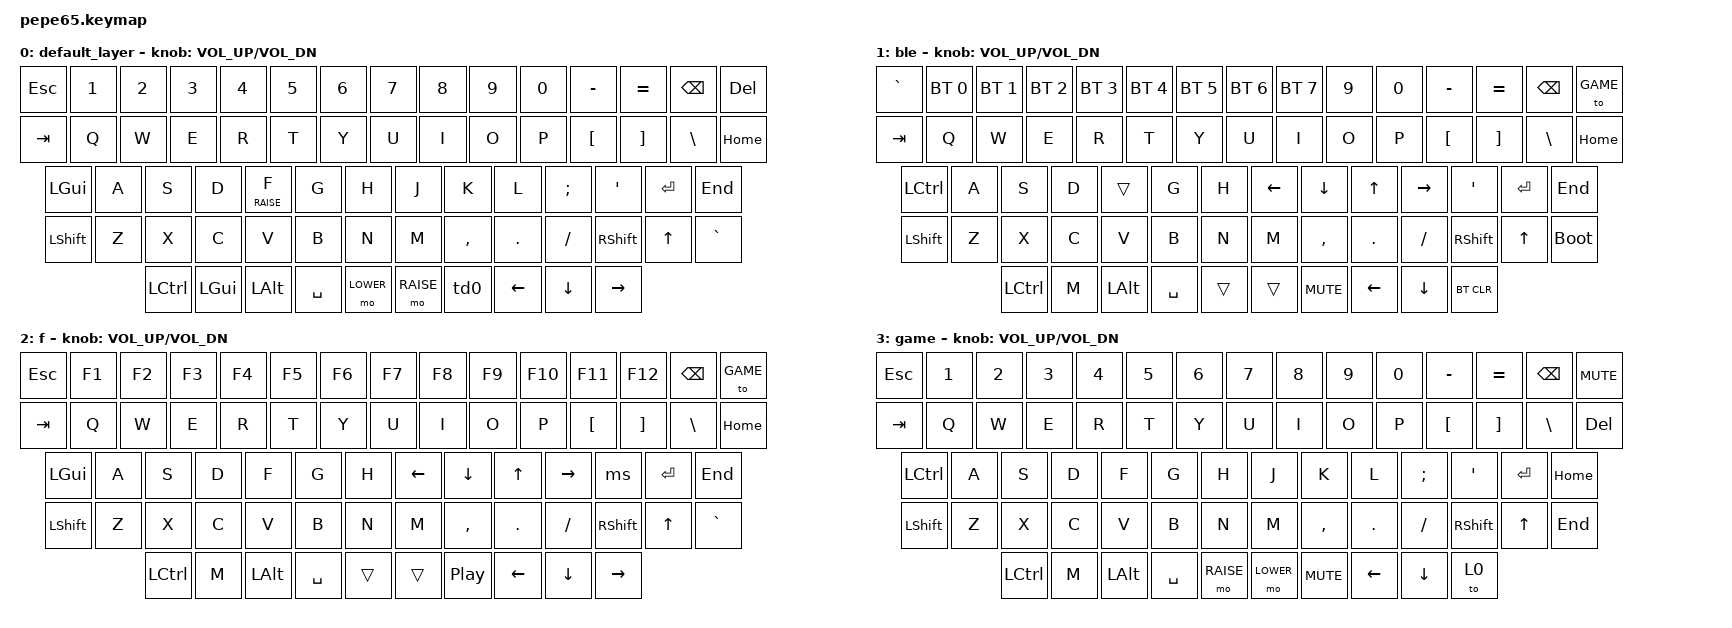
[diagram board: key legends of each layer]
#include <behaviors.dtsi>
#include <dt-bindings/zmk/keys.h>
#include <dt-bindings/zmk/bt.h>
#include <dt-bindings/zmk/outputs.h>
#include <dt-bindings/zmk/rgb.h>
#include <dt-bindings/zmk/ext_power.h>

#define DEFAULT 0
#define LOWER   1
#define RAISE   2
#define GAME 3

/{
    macros {
        ms: ms {
            label = "mac screenshot";
            compatible = "zmk,behavior-macro";
            #binding-cells = <0>;
            bindings
                = <&macro_press &kp LSHFT>
		, <&macro_press &kp LGUI>
		, <&macro_press &kp LCTRL>
                , <&macro_tap &kp N4>
                , <&macro_release &kp LSHFT &kp LGUI &kp LCTRL>
                ;
        };
    };
        behaviors {
        td0: tap_dance_0 {
            compatible = "zmk,behavior-tap-dance";
            label = "TAP_DANCE_0";
            #binding-cells = <0>;
            tapping-term-ms = <400>;
            bindings = <&kp C_PP>, <&kp C_NEXT>, <&kp C_PREV>;
        };
    };
    keymap {
        compatible = "zmk,keymap";

        default_layer {
 //   |  ESC  |  1  |  2  |  3  |  4  |  5  |  6  |  7  |  8  |  9  |  0  |  -  |  +  |  backspace  |
 //   |  tab  |  q  |  w  |  e  |  r  |  t  |  y  |  u  |  i  |  o  |  p  |  [  |  ]  |  \  |
 //   |  caps  |  a  |  s  |  d  |  f  |  g  |  h  |  j  |  k  |  l  |  ;  |  '  |  enter  |  encoder_button  |
 //   |  shift  |  z  |  x  |  c  |  v  |  b  |  n  |  m  |  ,  |  .  |  /  |  shift  |  up  |  extra  |
 //   |  ctrl  |  win  |  alt    |  space    |  alt  |  win  |  menu  |  left  |  down  |  right  |


            bindings = <
&kp ESC  &kp N1  &kp N2  &kp N3  &kp N4  &kp N5  &kp N6  &kp N7  &kp N8  &kp N9  &kp N0  &kp MINUS  &kp EQUAL  &kp BSPC &kp DEL
&kp TAB  &kp Q  &kp W  &kp E  &kp R  &kp T  &kp Y  &kp U  &kp I  &kp O  &kp P  &kp LBKT  &kp RBKT &kp BSLH &kp HOME
&kp LGUI  &kp A  &kp S  &kp D  &lt RAISE F  &kp G  &kp H  &kp J  &kp K  &kp L  &kp SEMI  &kp SQT  &kp ENTER  &kp END
&kp LSHFT  &kp Z  &kp X  &kp C  &kp V  &kp B  &kp N  &kp M  &kp COMMA  &kp DOT  &kp FSLH  &kp RSHFT  &kp UP  &kp GRAVE
&kp LCTRL  &kp LGUI  &kp LALT      &kp SPACE      &mo LOWER  &mo RAISE  &td0  &kp LEFT  &kp DOWN  &kp RIGHT
            >;

            sensor-bindings = <&inc_dec_kp C_VOL_UP C_VOL_DN>;
        };

        ble {
 //   |  ESC  |  1  |  2  |  3  |  4  |  5  |  6  |  7  |  8  |  9  |  0  |  -  |  +  |  backspace  |
 //   |  tab  |  q  |  w  |  e  |  r  |  t  |  y  |  u  |  i  |  o  |  p  |  [  |  ]  |  \  |
 //   |  caps  |  a  |  s  |  d  |  f  |  g  |  h  |  j  |  k  |  l  |  ;  |  '  |  enter  |  encoder_button  |
 //   |  shift  |  z  |  x  |  c  |  v  |  b  |  n  |  m  |  ,  |  .  |  /  |  shift  |  up  |  extra  |
 //   |  ctrl  |  win  |  alt    |  space    |  alt  |  win  |  menu  |  left  |  down  |  right  |


            bindings = <
&kp GRAVE  &bt BT_SEL 0 &bt BT_SEL 1  &bt BT_SEL 2  &bt BT_SEL 3  &bt BT_SEL 4  &bt BT_SEL 5  &bt BT_SEL 6  &bt BT_SEL 7  &kp N9  &kp N0  &kp MINUS  &kp EQUAL  &kp BSPC &to GAME
&kp TAB  &kp Q  &kp W  &kp E  &kp R  &kp T  &kp Y  &kp U  &kp I  &kp O  &kp P  &kp LBKT  &kp RBKT &kp BSLH &kp HOME
&kp LCTL  &kp A  &kp S  &kp D  &trans  &kp G  &kp H  &kp LEFT  &kp DOWN  &kp UP  &kp RIGHT  &kp SQT  &kp ENTER  &kp END
&kp LSHFT  &kp Z  &kp X  &kp C  &kp V  &kp B  &kp N  &kp M  &kp COMMA  &kp DOT  &kp FSLH  &kp RSHFT  &kp UP  &bootloader
&kp LCTRL  &kp M  &kp LALT      &kp SPACE      &trans  &trans  &kp C_MUTE  &kp LEFT  &kp DOWN  &bt BT_CLR
            >;

            sensor-bindings = <&inc_dec_kp C_VOL_UP C_VOL_DN>;
        };

        f {
 //   |  ESC  |  1  |  2  |  3  |  4  |  5  |  6  |  7  |  8  |  9  |  0  |  -  |  +  |  backspace  |
 //   |  tab  |  q  |  w  |  e  |  r  |  t  |  y  |  u  |  i  |  o  |  p  |  [  |  ]  |  \  |
 //   |  caps  |  a  |  s  |  d  |  f  |  g  |  h  |  j  |  k  |  l  |  ;  |  '  |  enter  |  encoder_button  |
 //   |  shift  |  z  |  x  |  c  |  v  |  b  |  n  |  m  |  ,  |  .  |  /  |  shift  |  up  |  extra  |
 //   |  ctrl  |  win  |  alt    |  space    |  alt  |  win  |  menu  |  left  |  down  |  right  |


            bindings = <
&kp ESC  &kp F1  &kp F2  &kp F3  &kp F4  &kp F5  &kp F6  &kp F7  &kp F8  &kp F9  &kp F10  &kp F11  &kp F12  &kp BSPC  &to GAME
&kp TAB  &kp Q  &kp W  &kp E  &kp R  &kp T  &kp Y  &kp U  &kp I  &kp O  &kp P  &kp LBKT  &kp RBKT &kp BSLH &kp HOME
&kp LGUI  &kp A  &kp S  &kp D  &kp F  &kp G  &kp H   &kp LEFT  &kp DOWN  &kp UP  &kp RIGHT  &ms  &kp ENTER  &kp END
&kp LSHFT  &kp Z  &kp X  &kp C  &kp V  &kp B  &kp N  &kp M  &kp COMMA  &kp DOT  &kp FSLH  &kp RSHFT  &kp UP  &kp GRAVE
&kp LCTRL  &kp M  &kp LALT      &kp SPACE      &trans   &trans  &kp C_PP  &kp LEFT  &kp DOWN  &kp RIGHT
            >;

            sensor-bindings = <&inc_dec_kp C_VOL_UP C_VOL_DN>;
        };
	
	game {
 //   |  ESC  |  1  |  2  |  3  |  4  |  5  |  6  |  7  |  8  |  9  |  0  |  -  |  +  |  backspace  |
 //   |  tab  |  q  |  w  |  e  |  r  |  t  |  y  |  u  |  i  |  o  |  p  |  [  |  ]  |  \  |
 //   |  caps  |  a  |  s  |  d  |  f  |  g  |  h  |  j  |  k  |  l  |  ;  |  '  |  enter  |  encoder_button  |
 //   |  shift  |  z  |  x  |  c  |  v  |  b  |  n  |  m  |  ,  |  .  |  /  |  shift  |  up  |  extra  |
 //   |  ctrl  |  win  |  alt    |  space    |  alt  |  win  |  menu  |  left  |  down  |  right  |


            bindings = <
&kp ESC  &kp N1  &kp N2  &kp N3  &kp N4  &kp N5  &kp N6  &kp N7  &kp N8  &kp N9  &kp N0  &kp MINUS  &kp EQUAL  &kp BSPC &kp C_MUTE
&kp TAB  &kp Q  &kp W  &kp E  &kp R  &kp T  &kp Y  &kp U  &kp I  &kp O  &kp P  &kp LBKT  &kp RBKT &kp BSLH &kp DEL
&kp LCTL  &kp A  &kp S  &kp D  &kp F  &kp G  &kp H  &kp J  &kp K  &kp L  &kp SEMI  &kp SQT  &kp ENTER  &kp HOME
&kp LSHFT  &kp Z  &kp X  &kp C  &kp V  &kp B  &kp N  &kp M  &kp COMMA  &kp DOT  &kp FSLH  &kp RSHFT  &kp UP  &kp END
&kp LCTRL  &kp M  &kp LALT      &kp SPACE      &mo RAISE  &mo LOWER  &kp C_MUTE  &kp LEFT  &kp DOWN  &to 0
            >;

            sensor-bindings = <&inc_dec_kp C_VOL_UP C_VOL_DN>;
        };
    };
};
